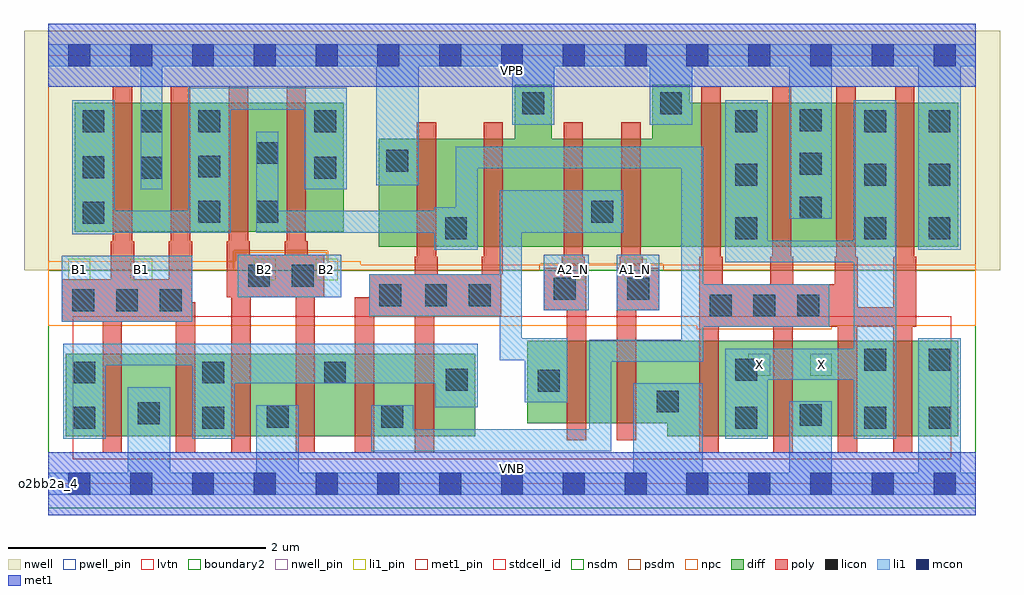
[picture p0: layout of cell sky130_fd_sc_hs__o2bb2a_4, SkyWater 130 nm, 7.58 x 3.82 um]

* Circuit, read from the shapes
.subckt sky130_fd_sc_hs__o2bb2a_4 A1_N A2_N B1 B2 VGND VNB VPB VPWR X
XM1 VGND B1 n1 VNB sky130_fd_pr__nfet_01v8_lvt w=0.64 l=0.15 m=2
XM2 VGND B2 n1 VNB sky130_fd_pr__nfet_01v8_lvt w=0.64 l=0.15 m=2
XM3 n2 n3 n1 VNB sky130_fd_pr__nfet_01v8_lvt w=0.64 l=0.15 m=2
XM4 n4 A2_N n3 VNB sky130_fd_pr__nfet_01v8_lvt w=0.64 l=0.15
XM5 VGND A1_N n4 VNB sky130_fd_pr__nfet_01v8_lvt w=0.64 l=0.15
XM6 X n2 VGND VNB sky130_fd_pr__nfet_01v8_lvt w=0.74 l=0.15 m=4
XM7 VPWR B1 n5 VPB sky130_fd_pr__pfet_01v8 w=1 l=0.15 m=2
XM8 n2 B2 n5 VPB sky130_fd_pr__pfet_01v8 w=1 l=0.15 m=2
XM9 n2 n3 VPWR VPB sky130_fd_pr__pfet_01v8 w=0.84 l=0.15 m=2
XM10 n3 A2_N VPWR VPB sky130_fd_pr__pfet_01v8 w=0.84 l=0.15
XM11 VPWR A1_N n3 VPB sky130_fd_pr__pfet_01v8 w=0.84 l=0.15
XM12 X n2 VPWR VPB sky130_fd_pr__pfet_01v8 w=1.12 l=0.15 m=4
.ends

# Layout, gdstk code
import gdstk
lib = gdstk.Library(unit=1e-6, precision=1e-09)
def R(c, l, rs):  # rectangles x0, y0, x1, y1
    for r in rs: c.add(gdstk.rectangle(r[:2], r[2:], *l))
def A(c, l, x, y, w, h, nx, ny, dx, dy):  # array of equal rectangles
    R(c, l, [(x+i*dx, y+j*dy, x+i*dx+w, y+j*dy+h) for i in range(nx) for j in range(ny)])
def P(c, l, *ps):  # polygons
    for p in ps: c.add(gdstk.Polygon(p, *l))
nwell_pin = (64, 16)
nwell = (64, 20)
diff = (65, 20)
poly = (66, 20)
licon = (66, 44)
li1_pin = (67, 16)
li1 = (67, 20)
mcon = (67, 44)
met1_pin = (68, 16)
met1 = (68, 20)
stdcell_id = (81, 4)
nsdm = (93, 44)
psdm = (94, 20)
npc = (95, 20)
pwell_pin = (122, 16)
lvtn = (125, 44)
boundary2 = (236, 0)

sky130_fd_sc_hs__o2bb2a_ = lib.new_cell('sky130_fd_sc_hs__o2bb2a_4')
R(sky130_fd_sc_hs__o2bb2a_, nwell_pin, [(0,3.085,7.2,3.33)])
R(sky130_fd_sc_hs__o2bb2a_, nwell, [(-0.19,1.66,7.39,3.52)])
R(sky130_fd_sc_hs__o2bb2a_, diff, [(0.135,0.37,3.315,1.01), (0.205,1.96,2.295,2.96)])
P(sky130_fd_sc_hs__o2bb2a_, diff, [(7.065,2.96),(4.98,2.96),(4.98,3.1),(4.69,3.1),(4.69,2.68),(3.91,2.68),(3.91,3.1),(3.62,3.1),(3.62,2.68),(2.565,2.68),(2.565,1.84),(7.065,1.84)],
  [(7.065,1.11),(3.72,1.11),(3.72,0.47),(4.805,0.47),(4.805,0.37),(7.065,0.37)])
P(sky130_fd_sc_hs__o2bb2a_, poly, [(6.74,1.765),(6.725,1.765),(6.725,3.09),(6.575,3.09),(6.575,1.765),(6.56,1.765),(6.56,1.37),(6.285,1.37),(6.285,1.765),(6.27,1.765),(6.27,3.09),(6.12,3.09),(6.12,1.765),(6.105,1.765),(6.105,1.55),(5.785,1.55),(5.785,1.765),(5.77,1.765),(5.77,3.09),(5.62,3.09),(5.62,1.765),(5.605,1.765),(5.605,1.55),(5.235,1.55),(5.235,1.765),(5.22,1.765),(5.22,3.09),(5.07,3.09),(5.07,1.765),(5.055,1.765),(5.055,0.24),(5.205,0.24),(5.205,1.22),(5.63,1.22),(5.63,0.24),(5.78,0.24),(5.78,1.22),(6.13,1.22),(6.13,0.24),(6.28,0.24),(6.28,1.22),(6.56,1.22),(6.56,0.24),(6.71,0.24),(6.71,1.22),(6.74,1.22)],
  [(4.745,1.68),(4.615,1.68),(4.615,1.765),(4.6,1.765),(4.6,2.81),(4.45,2.81),(4.45,1.765),(4.435,1.765),(4.435,1.68),(4.415,1.68),(4.415,0.34),(4.565,0.34),(4.565,1.35),(4.745,1.35)],
  [(4.175,1.68),(4.165,1.68),(4.165,1.765),(4.15,1.765),(4.15,2.81),(4,2.81),(4,1.765),(3.985,1.765),(3.985,1.68),(3.845,1.68),(3.845,1.35),(4.025,1.35),(4.025,0.34),(4.175,0.34)],
  [(3.53,2.81),(3.38,2.81),(3.38,1.765),(3.365,1.765),(3.365,1.63),(3.025,1.63),(3.025,1.765),(3.01,1.765),(3.01,2.81),(2.86,2.81),(2.86,1.765),(2.845,1.765),(2.845,1.63),(2.49,1.63),(2.49,1.45),(2.38,1.45),(2.38,0.24),(2.53,0.24),(2.53,1.3),(2.845,1.3),(2.845,0.24),(2.995,0.24),(2.995,1.3),(3.515,1.3),(3.515,1.63),(3.53,1.63)],
  [(2.14,1.78),(2.015,1.78),(2.015,1.885),(2,1.885),(2,3.09),(1.85,3.09),(1.85,1.885),(1.835,1.885),(1.835,1.78),(1.565,1.78),(1.565,1.885),(1.55,1.885),(1.55,3.09),(1.4,3.09),(1.4,1.885),(1.385,1.885),(1.385,1.45),(1.42,1.45),(1.42,0.24),(1.57,0.24),(1.57,1.45),(1.92,1.45),(1.92,0.24),(2.07,0.24),(2.07,1.45),(2.14,1.45)],
  [(1.14,1.41),(1.115,1.41),(1.115,1.885),(1.1,1.885),(1.1,3.09),(0.95,3.09),(0.95,1.885),(0.935,1.885),(0.935,1.59),(0.665,1.59),(0.665,1.885),(0.65,1.885),(0.65,3.09),(0.5,3.09),(0.5,1.885),(0.485,1.885),(0.485,1.59),(0.105,1.59),(0.105,1.26),(0.42,1.26),(0.42,0.24),(0.57,0.24),(0.57,1.26),(0.99,1.26),(0.99,0.24),(1.14,0.24)])
A(sky130_fd_sc_hs__o2bb2a_, licon, 5.135, 1.3, 0.17, 0.17, 3, 1, 0.34, 0)
A(sky130_fd_sc_hs__o2bb2a_, licon, 0.185, 1.34, 0.17, 0.17, 3, 1, 0.34, 0)
A(sky130_fd_sc_hs__o2bb2a_, licon, 5.335, 1.9, 0.17, 0.17, 1, 3, 0, 0.415)
A(sky130_fd_sc_hs__o2bb2a_, licon, 6.335, 1.9, 0.17, 0.17, 1, 3, 0, 0.415)
A(sky130_fd_sc_hs__o2bb2a_, licon, 6.835, 1.9, 0.17, 0.17, 1, 3, 0, 0.415)
A(sky130_fd_sc_hs__o2bb2a_, licon, 5.835, 2.06, 0.17, 0.17, 1, 3, 0, 0.34)
A(sky130_fd_sc_hs__o2bb2a_, licon, 0.265, 2.73, 0.17, 0.17, 3, 1, 0.45, 0)
R(sky130_fd_sc_hs__o2bb2a_, licon, [(0.195,0.43,0.365,0.6), (1.195,0.43,1.365,0.6), (5.335,0.43,5.505,0.6), (6.335,0.43,6.505,0.6), (6.835,0.43,7.005,0.6), (1.695,0.435,1.865,0.605), (2.585,0.435,2.755,0.605), (5.835,0.45,6.005,0.62), (0.695,0.465,0.865,0.635), (4.725,0.555,4.895,0.725), (3.8,0.715,3.97,0.885), (3.085,0.725,3.255,0.895), (0.195,0.78,0.365,0.95), (1.195,0.78,1.365,0.95), (2.14,0.78,2.31,0.95), (5.335,0.8,5.505,0.97), (6.335,0.88,6.505,1.05), (6.835,0.88,7.005,1.05), (2.57,1.38,2.74,1.55), (2.925,1.38,3.095,1.55), (3.265,1.38,3.435,1.55), (3.925,1.43,4.095,1.6), (4.495,1.43,4.665,1.6), (1.55,1.53,1.72,1.7), (1.89,1.53,2.06,1.7), (3.08,1.9,3.25,2.07), (0.265,2.02,0.435,2.19), (1.165,2.03,1.335,2.2), (1.615,2.03,1.785,2.2), (4.215,2.03,4.385,2.2), (0.715,2.37,0.885,2.54), (2.065,2.37,2.235,2.54), (0.265,2.375,0.435,2.545), (1.165,2.38,1.335,2.55), (2.625,2.425,2.795,2.595), (1.615,2.485,1.785,2.655), (2.065,2.73,2.235,2.9), (3.68,2.87,3.85,3.04), (4.75,2.87,4.92,3.04)])
R(sky130_fd_sc_hs__o2bb2a_, li1_pin, [(5.435,0.84,5.605,1.01), (5.915,0.84,6.085,1.01), (0.155,1.58,0.325,1.75), (0.635,1.58,0.805,1.75), (1.595,1.58,1.765,1.75), (2.075,1.58,2.245,1.75), (3.995,1.58,4.165,1.75), (4.475,1.58,4.645,1.75)])
R(sky130_fd_sc_hs__o2bb2a_, li1, [(0.105,1.26,1.115,1.77), (3.845,1.35,4.195,1.78), (4.415,1.35,4.745,1.78), (1.47,1.45,2.275,1.78)])
P(sky130_fd_sc_hs__o2bb2a_, li1, [(3.6,2.79),(3.6,3.245),(2.875,3.245),(2.875,2.32),(2.545,2.32),(2.545,3.245),(0.885,3.245),(0.885,2.29),(0.715,2.29),(0.715,3.245),(0,3.245),(0,3.415),(7.2,3.415),(7.2,3.245),(7.085,3.245),(7.085,1.82),(6.755,1.82),(6.755,3.245),(6.085,3.245),(6.085,2.06),(5.755,2.06),(5.755,3.245),(5,3.245),(5,2.79),(4.67,2.79),(4.67,3.245),(3.93,3.245),(3.93,2.79)],
  [(0.615,0.085),(0.615,0.75),(0.945,0.75),(0.945,0.085),(1.615,0.085),(1.615,0.61),(1.945,0.61),(1.945,0.085),(4.54,0.085),(4.54,0.78),(5.08,0.78),(5.08,0.085),(5.755,0.085),(5.755,0.64),(6.085,0.64),(6.085,0.085),(6.755,0.085),(6.755,1.13),(7.085,1.13),(7.085,0.085),(7.2,0.085),(7.2,-0.085),(0,-0.085),(0,0.085)],
  [(4.2,1.12),(4.915,1.12),(4.915,2.45),(3.335,2.45),(3.335,1.82),(2.995,1.82),(2.995,1.95),(1.615,1.95),(1.615,2.735),(1.785,2.735),(1.785,2.12),(2.995,2.12),(2.995,2.15),(3.165,2.15),(3.165,2.62),(5.085,2.62),(5.085,1.55),(6.065,1.55),(6.065,1.22),(5.085,1.22),(5.085,0.95),(4.37,0.95),(4.37,0.255),(2.505,0.255),(2.505,0.61),(2.835,0.61),(2.835,0.425),(4.2,0.425)],
  [(3.505,2.28),(4.465,2.28),(4.465,1.95),(3.675,1.95),(3.675,1.13),(4.03,1.13),(4.03,0.635),(3.7,0.635),(3.7,0.96),(3.505,0.96),(3.505,1.3),(2.49,1.3),(2.49,1.63),(3.505,1.63)],
  [(6.255,1.05),(6.255,1.72),(5.255,1.72),(5.255,2.98),(5.585,2.98),(5.585,1.89),(6.255,1.89),(6.255,2.98),(6.585,2.98),(6.585,0.35),(6.255,0.35),(6.255,0.81),(5.585,0.81),(5.585,0.35),(5.255,0.35),(5.255,1.05)],
  [(1.115,0.35),(1.115,0.92),(0.445,0.92),(0.445,0.35),(0.115,0.35),(0.115,1.09),(3.335,1.09),(3.335,0.595),(3.005,0.595),(3.005,0.78),(1.445,0.78),(1.445,0.35)],
  [(0.185,1.94),(0.185,2.98),(0.515,2.98),(0.515,2.12),(1.085,2.12),(1.085,3.075),(2.315,3.075),(2.315,2.29),(1.985,2.29),(1.985,2.905),(1.415,2.905),(1.415,1.95),(0.515,1.95),(0.515,1.94)])
A(sky130_fd_sc_hs__o2bb2a_, mcon, 0.155, -0.085, 0.17, 0.17, 15, 2, 0.48, 3.33)
R(sky130_fd_sc_hs__o2bb2a_, met1_pin, [(0,0,7.2,0.245), (0,3.085,7.2,3.33)])
R(sky130_fd_sc_hs__o2bb2a_, met1, [(0,-0.245,7.2,0.245), (0,3.085,7.2,3.575)])
R(sky130_fd_sc_hs__o2bb2a_, stdcell_id, [(0,0,7.2,3.33)])
R(sky130_fd_sc_hs__o2bb2a_, nsdm, [(0,-0.19,7.2,1.66)])
P(sky130_fd_sc_hs__o2bb2a_, psdm, [(7.2,3.52),(0,3.52),(0,1.66),(1.44,1.66),(1.44,1.81),(2.17,1.81),(2.17,1.66),(3.815,1.66),(3.815,1.71),(4.775,1.71),(4.775,1.66),(7.2,1.66)])
P(sky130_fd_sc_hs__o2bb2a_, npc, [(7.2,1.7),(2.425,1.7),(2.425,1.73),(2.16,1.73),(2.16,1.8),(1.45,1.8),(1.45,1.73),(0,1.73),(0,1.23),(5.035,1.23),(5.035,1.2),(6.085,1.2),(6.085,1.23),(7.2,1.23)])
R(sky130_fd_sc_hs__o2bb2a_, pwell_pin, [(0,0,7.2,0.245)])
R(sky130_fd_sc_hs__o2bb2a_, lvtn, [(0.19,0.19,7.01,1.3)])
R(sky130_fd_sc_hs__o2bb2a_, boundary2, [(0,0,7.2,3.33)])
sky130_fd_sc_hs__o2bb2a_.add(gdstk.Label('o2bb2a_4', (0,0), layer=83, texttype=44))
sky130_fd_sc_hs__o2bb2a_.add(gdstk.Label('VNB', (3.6,0.123), layer=64, texttype=59))
sky130_fd_sc_hs__o2bb2a_.add(gdstk.Label('VPB', (3.6,3.208), layer=64, texttype=5))
sky130_fd_sc_hs__o2bb2a_.add(gdstk.Label('VPWR', (3.6,3.208), layer=68, texttype=5))
sky130_fd_sc_hs__o2bb2a_.add(gdstk.Label('VGND', (3.6,0.123), layer=68, texttype=5))
sky130_fd_sc_hs__o2bb2a_.add(gdstk.Label('X', (5.52,0.925), layer=67, texttype=5))
sky130_fd_sc_hs__o2bb2a_.add(gdstk.Label('X', (6,0.925), layer=67, texttype=5))
sky130_fd_sc_hs__o2bb2a_.add(gdstk.Label('B2', (1.68,1.665), layer=67, texttype=5))
sky130_fd_sc_hs__o2bb2a_.add(gdstk.Label('B2', (2.16,1.665), layer=67, texttype=5))
sky130_fd_sc_hs__o2bb2a_.add(gdstk.Label('B1', (0.24,1.665), layer=67, texttype=5))
sky130_fd_sc_hs__o2bb2a_.add(gdstk.Label('B1', (0.72,1.665), layer=67, texttype=5))
sky130_fd_sc_hs__o2bb2a_.add(gdstk.Label('A2_N', (4.08,1.665), layer=67, texttype=5))
sky130_fd_sc_hs__o2bb2a_.add(gdstk.Label('A1_N', (4.56,1.665), layer=67, texttype=5))

lib.write_gds('sky130_fd_sc_hs__o2bb2a_4.gds')
